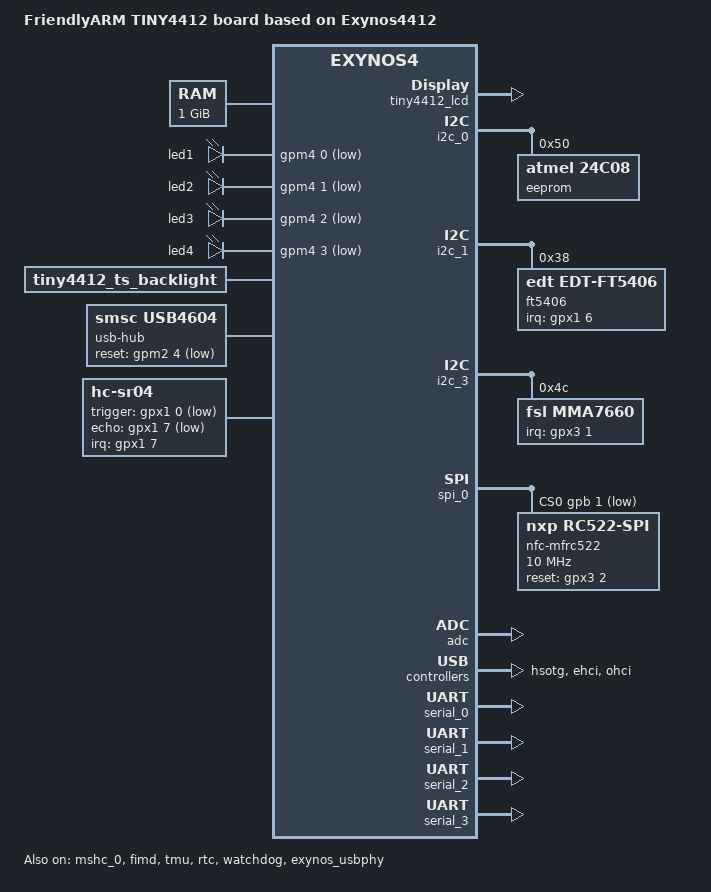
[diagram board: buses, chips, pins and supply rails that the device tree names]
/*
 * FriendlyARM's Exynos4412 based TINY4412 board device tree source
 *
 * Copyright (c) 2013 Alex Ling <kasimling@gmail.com>
 *
 * Device tree source file for FriendlyARM's TINY4412 board which is based on
 * Samsung's Exynos4412 SoC.
 *
 * This program is free software; you can redistribute it and/or modify
 * it under the terms of the GNU General Public License version 2 as
 * published by the Free Software Foundation.
*/

/dts-v1/;
#include "exynos4412.dtsi"
#include <dt-bindings/gpio/gpio.h>
#include <dt-bindings/interrupt-controller/irq.h>
#include <dt-bindings/usb4604/usb4604.h>
#include <dt-bindings/tiny4412-lcds/samsung_fimd.h>

/ {
	model = "FriendlyARM TINY4412 board based on Exynos4412";
	compatible = "friendlyarm,tiny4412", "samsung,exynos4412", "samsung,exynos4";

	chosen {
		stdout-path = &serial_0;
		bootargs = "root=/dev/ram0 rw rootfstype=ext4 console=ttySAC0,115200 init=/linuxrc earlyprintk";
	};

	memory {
		reg = <0x40000000 0x40000000>;
	};

	thermal-zones {
		cpu_thermal: cpu-thermal {
			cooling-maps {
				map0 {
				     /* Corresponds to 800MHz at freq_table */
				     cooling-device = <&cpu0 7 7>;
				};
				map1 {
				     /* Corresponds to 200MHz at freq_table */
				     cooling-device = <&cpu0 13 13>;
			       };
		       };
		};
	};

	leds {
		compatible = "gpio-leds";

		led1 {
			label = "led1";
			gpios = <&gpm4 0 GPIO_ACTIVE_LOW>;
			default-state = "off";
			linux,default-trigger = "heartbeat";
		};

		led2 {
			label = "led2";
			gpios = <&gpm4 1 GPIO_ACTIVE_LOW>;
			default-state = "off";
		};

		led3 {
			label = "led3";
			gpios = <&gpm4 2 GPIO_ACTIVE_LOW>;
			default-state = "off";
		};

		led4 {
			label = "led4";
			gpios = <&gpm4 3 GPIO_ACTIVE_LOW>;
			default-state = "off";
			linux,default-trigger = "mmc0";
		};
	};

	fixed-rate-clocks {
		xxti {
			compatible = "samsung,clock-xxti";
			clock-frequency = <0>;
		};

		xusbxti {
			compatible = "samsung,clock-xusbxti";
			clock-frequency = <24000000>;
		};
	};
	
	tiny4412_ts_backlight {
		compatible = "tiny4412_ts_backlight";
		status = "okay";
	};
	
	tiny4412_1wire {
		compatible = "tiny4412_1wire";
		reg = <0x139D0000 0x1000>;
		1wire-gpio = <&gpx1 2 GPIO_ACTIVE_LOW>;
		interrupts = <0 40 0>;
		clocks = <&clock CLK_PWM>;
		clock-names = "timer-3";
		status = "disabled";
	};
	
 	usb-hub {
		compatible = "smsc,usb4604";
		reset-gpios = <&gpm2 4 GPIO_ACTIVE_LOW>;
		initial-mode = <USB4604_MODE_HUB>;
	};

	hc-sr04 {
		compatible = "hc-sr04";
		interrupt-parent = <&gpx1>;
		interrupt-names = "echo";
		interrupts = <7 IRQ_TYPE_EDGE_RISING>;
		trigger-gpio = <&gpx1 0 GPIO_ACTIVE_LOW>;
		echo-gpio = <&gpx1 7 GPIO_ACTIVE_LOW>;
		status = "okay";
	};

	pwm-buzzer {
		compatible = "pwm-buzzer";
		pwms = <&pwm 0 10000 0>;
		pwm-names = "buzzer-pwm";
		status = "disabled";
	};

	tiny4412_lcd {
		status = "okay";

		s702{
			width = <800>;
			height = <480>;
			p_width = <155>;
			p_height = <93>;
			bpp = <24>;
			freq = <63>;
			
			timing {
				h_fp = <80>;
				h_bp = <36>;
				h_sw = <10>;
				v_fp = <22>;
				v_fpe = <1>;
				v_bp = <15>;
				v_bpe = <1>;
				v_sw = <8>;
			};
			
			polarity {
				rise_vclk;
				inv_hsync;
				inv_vsync;
			};
		};
	};
	
};

&i2c_0 {
	samsung,i2c-sda-delay = <100>;
	samsung,i2c-max-bus-freq = <400000>;
	status = "okay";

	eeprom: eeprom@50 {
		compatible = "atmel,24c08", "microchip, 24aa025e48";
		reg = <0x50>;
		pagesize = <16>;
		status = "okay";
	};
};

&i2c_1 {
	samsung,i2c-sda-delay = <100>;
	samsung,i2c-max-bus-freq = <200000>;
	status = "okay";

	ft5406: touchscreen@38 {
		compatible = "edt,edt-ft5406";
		reg = <0x38>;
		interrupt-parent = <&gpx1>;
		interrupts = <6 IRQ_TYPE_EDGE_FALLING>;
		touchscreen-size-x = <800>;
		touchscreen-size-y = <480>;
		touchscreen-fuzz-x = <4>;
		touchscreen-fuzz-y = <7>;
		touchscreen-fuzz-pressure = <2>;
		touchscreen-max-pressure = <2048>;
		status = "okay";
	};
};

&i2c_3 {
	samsung,i2c-sda-delay = <100>;
	samsung,i2c-max-bus-freq = <200000>;
	status = "okay";

	mma7660: mma7660@4c {
		compatible = "fsl,mma7660";
		reg = <0x4c>;
		interrupt-parent = <&gpx3>;
		interrupts = <1 IRQ_TYPE_EDGE_FALLING>;
		poll_interval = <100>;
		input_fuzz = <4>;
		input_flat = <4>;
		status = "okay";
	};
};

&spi_0 {
	pinctrl-names = "default";
	pinctrl-0 = <&spi0_bus>;
	cs-gpios = <&gpb 1 GPIO_ACTIVE_LOW>;
	status = "okay";

	nfc-mfrc522 {
		compatible = "nxp,rc522-spi";
		spi-max-frequency = <10000000>;
		reset-gpio = <&gpx3 2 GPIO_ACTIVE_HIGH>;
		reg = <0>;
		controller-data {
			samsung,spi-feedback-delay = <2>;
		};
	};
};

&mshc_0 {
	num-slots = <1>;
	broken-cd;
	non-removable;
	card-detect-delay = <200>;
	clock-frequency = <400000000>;
	samsung,dw-mshc-ciu-div = <0>;
	samsung,dw-mshc-sdr-timing = <2 3>;
	samsung,dw-mshc-ddr-timing = <1 2>;
	pinctrl-0 = <&sd4_clk &sd4_cmd &sd4_bus4 &sd4_bus8>;
	pinctrl-names = "default";
	status = "okay";
	bus-width = <8>;
	cap-mmc-highspeed;
};

&fimd {
	compatible = "samsung,exynos4-fb";
	sclk-fimd-rate = <800000000>;
	pinctrl-0 = <&lcd_clk &lcd_data24>;
	pinctrl-names = "lcd0_pin_cfg";
	sysreg_lcd_blk_cfg_offset = /bits/ 32 <0x0210>;
	status = "okay";
	lcd_name = "s702";
	
	lcd_default_config {
		vidcon0 = <VIDCON0_VIDOUT_RGB VIDCON0_PNRMODE_RGB>;
		vidcon1 = <VIDCON1_INV_HSYNC VIDCON1_INV_VSYNC>;
		setup_gpio = "exynos4_fimd0_gpio_setup_24bpp";
	
		vtiming {
			left_margin = <9>;
			right_margin = <9>;
			upper_margin = <5>;
			lower_margin = <5>;
			hsync_len = <2>;
			vsync_len = <2>;
			xres = <480>;
			yres = <800>;
		};
		wins_array {
			win0 {
				xres = /bits/ 16 <480>;
				yres = /bits/ 16 <800>;
				virtual_x = /bits/ 16 <480>;
				virtual_y = /bits/ 16 <800>;
				max_bpp	 = /bits/ 16 <32>;
				default_bpp	= /bits/ 16 <24>;
				width = /bits/ 16 <66>;
				height = /bits/ 16 <109>;
			};

			win1 {
				xres = /bits/ 16 <480>;
				yres = /bits/ 16 <800>;
				virtual_x = /bits/ 16 <480>;
				virtual_y = /bits/ 16 <800>;
				max_bpp	 = /bits/ 16 <32>;
				default_bpp	= /bits/ 16 <24>;
				width = /bits/ 16 <66>;
				height = /bits/ 16 <109>;
			};

			win2 {
				xres = /bits/ 16 <480>;
				yres = /bits/ 16 <800>;
				virtual_x = /bits/ 16 <480>;
				virtual_y = /bits/ 16 <800>;
				max_bpp	 = /bits/ 16 <32>;
				default_bpp	= /bits/ 16 <24>;
				width = /bits/ 16 <66>;
				height = /bits/ 16 <109>;
			};

			win3 {
				xres = /bits/ 16 <480>;
				yres = /bits/ 16 <800>;
				virtual_x = /bits/ 16 <480>;
				virtual_y = /bits/ 16 <800>;
				max_bpp	 = /bits/ 16 <32>;
				default_bpp	= /bits/ 16 <24>;
				width = /bits/ 16 <66>;
				height = /bits/ 16 <109>;
			};

			win4 {
				xres = /bits/ 16 <480>;
				yres = /bits/ 16 <800>;
				virtual_x = /bits/ 16 <480>;
				virtual_y = /bits/ 16 <800>;
				max_bpp	 = /bits/ 16 <32>;
				default_bpp	= /bits/ 16 <24>;
				width = /bits/ 16 <66>;
				height = /bits/ 16 <109>;
			};
		};
		
	};

	
};

&tmu {
	status = "okay";
};

&adc {
	status = "okay";
};

&rtc {
	status = "okay";
};

&watchdog {
	status = "okay";
};


&exynos_usbphy {
	status = "okay";
};

&hsotg {
	status = "okay";
};

&ehci {
		status = "okay";
		
		port@0 {
		    status = "okay";
		};
		
		port@1 {
		    status = "okay";
		};
		
		port@2 {
		    status = "okay";
		};
};

&ohci {
		status = "okay";
		port@0 {
		    status = "okay";
		};
};


&sdhci_2 {
	bus-width = <4>;
	pinctrl-0 = <&sd2_clk &sd2_cmd &sd2_cd &sd2_bus4>;
	pinctrl-names = "default";
	status = "disabled";
};

&pwm {
      pinctrl-0 = <&pwm0_out &pwm1_out>;
      pinctrl-names = "default";
      samsung,pwm-outputs = <0>, <1>;
      status = "disabled";
 };
  

&serial_0 {
	status = "okay";
};

&serial_1 {
	status = "okay";
};

&serial_2 {
	status = "okay";
};

&serial_3 {
	status = "okay";
};
